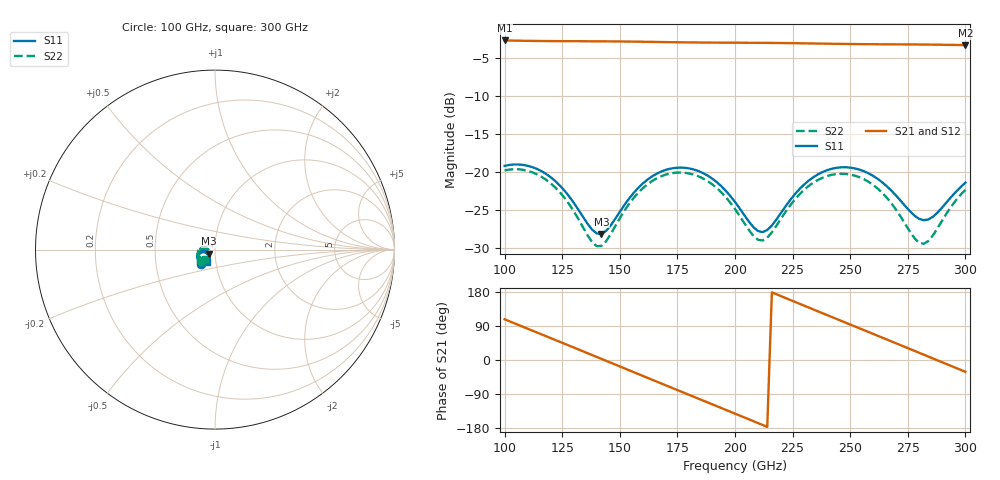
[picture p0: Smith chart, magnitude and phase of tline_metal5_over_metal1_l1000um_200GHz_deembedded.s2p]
! Created with skrf 2.0.1 (http://scikit-rf.org).
# GHz S DB R 50.0
!freq dBS11 angS11 dBS21 angS21 dBS12 angS12 dBS22 angS22
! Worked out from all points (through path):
!   101 points, 100 GHz to 300 GHz, reference 50 ohm
!   highest |S21| = -2.67 dB at 100 GHz (marker M1); lowest = -3.3 dB at 300 GHz (marker M2)
!   group delay of S21, straight-line fit = 6.93 ps
!   lowest |S11| = -28.1 dB at 142 GHz (marker M3), VSWR 1.08, Z = 46.8 - j2.12 ohm
!   |S11| at or under -10 dB: start of sweep to end of sweep
!   |S22| runs from -29.7 to -19.6 dB; largest |S21 - S12| = 6e-16
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100  -19.18 -134.0  -2.67 107.4  -2.67 107.4  -19.77 -141.8
108  -19.05 -148.5  -2.71 87.5  -2.71 87.5  -19.70 -157.4
116  -19.87 -162.2  -2.74 67.7  -2.74 67.7  -20.61 -172.1
126  -22.44 -174.4  -2.76 42.9  -2.76 42.9  -23.38 174.1
134  -25.87 -172.3  -2.77 23.0  -2.77 23.0  -27.24 175.8
142  -28.13 -144.8  -2.78 3.0  -2.78 3.0  -29.70 -151.8
154  -23.49 -120.6  -2.81 -27.0  -2.81 -27.0  -24.19 -128.6
168  -19.92 -135.2  -2.87 -62.0  -2.87 -62.0  -20.54 -146.4
176  -19.40 -147.7  -2.91 -81.9  -2.91 -81.9  -20.05 -160.3
184  -19.84 -160.1  -2.93 -101.7  -2.93 -101.7  -20.54 -173.9
200  -23.92 -174.8  -2.96 -141.5  -2.96 -141.5  -24.86 169.3
208  -27.25 -162.0  -2.97 -161.5  -2.97 -161.5  -28.40 -177.4
212  -27.89 -146.1  -2.98 -171.5  -2.98 -171.5  -29.00 -160.4
222  -24.48 -120.5  -3.01 163.4  -3.01 163.4  -25.20 -136.1
234  -20.67 -126.8  -3.06 133.4  -3.06 133.4  -21.39 -145.2
250  -19.40 -149.1  -3.13 93.6  -3.13 93.6  -20.32 -170.9
258  -20.16 -159.8  -3.16 73.7  -3.16 73.7  -21.28 176.6
268  -22.48 -167.6  -3.18 48.9  -3.18 48.9  -24.15 166.5
278  -25.75 -157.3  -3.20 23.9  -3.20 23.9  -28.73 179.8
282  -26.33 -145.4  -3.21 13.9  -3.21 13.9  -29.43 -162.0
290  -24.62 -125.0  -3.23 -6.2  -3.23 -6.2  -26.33 -136.8
300  -21.39 -123.0  -3.28 -31.2  -3.28 -31.2  -22.33 -139.2
